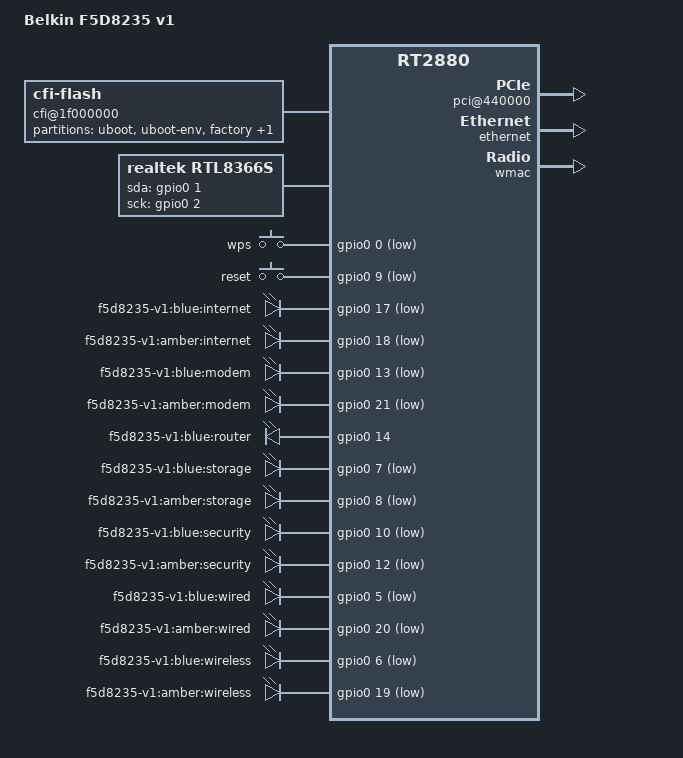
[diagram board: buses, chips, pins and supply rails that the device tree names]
/dts-v1/;

#include "rt2880.dtsi"

#include <dt-bindings/gpio/gpio.h>
#include <dt-bindings/input/input.h>

/ {
	#address-cells = <1>;
	#size-cells = <1>;
	compatible = "belkin,f5d8235-v1", "ralink,rt2880-soc";
	model = "Belkin F5D8235 v1";

	pci@440000 {
		status = "ok";
	};

	cfi@1f000000 {
		compatible = "cfi-flash";
		reg = <0xbc400000 0x800000>;
		bank-width = <2>;
		device-width = <2>;
		#address-cells = <1>;
		#size-cells = <1>;

		partition@0 {
			label = "uboot";
			reg = <0x0 0x30000>;
			read-only;
		};

		partition@30000 {
			label = "uboot-env";
			reg = <0x30000 0x10000>;
			read-only;
		};

		factory: partition@40000 {
			label = "factory";
			reg = <0x40000 0x10000>;
			read-only;
		};

		partition@50000 {
			label = "firmware";
			reg = <0x50000 0x7b0000>;
		};
	};

	rtl8366s {
		compatible = "realtek,rtl8366s";
		gpio-sda = <&gpio0 1 GPIO_ACTIVE_HIGH>;
		gpio-sck = <&gpio0 2 GPIO_ACTIVE_HIGH>;

		realtek,initvals = <
			0x0242 0x02BF
			0x0245 0x02BF
			0x0248 0x02BF
			0x024B 0x02BF
			0x024E 0x02BF
			0x0251 0x02BF
			0x0254 0x0A3F
			0x0256 0x0A3F
			0x0258 0x0A3F
			0x025A 0x0A3F
			0x025C 0x0A3F
			0x025E 0x0A3F
			0x0263 0x007C
			0x0100 0x0004
			0xBE5B 0x3500
			0x800E 0x200F
			0xBE1D 0x0F00
			0x8001 0x5011
			0x800A 0xA2F4
			0x800B 0x17A3
			0xBE4B 0x17A3
			0xBE41 0x5011
			0xBE17 0x2100
			0x8000 0x8304
			0xBE40 0x8304
			0xBE4A 0xA2F4
			0x800C 0xA8D5
			0x8014 0x5500
			0x8015 0x0004
			0xBE4C 0xA8D5
			0xBE59 0x0008
			0xBE09 0x0E00
			0xBE36 0x1036
			0xBE37 0x1036
			0x800D 0x00FF
			0xBE4D 0x00FF
		>;

		realtek,green-ethernet-features;
	};

	gpio-keys-polled {
		compatible = "gpio-keys-polled";
		#address-cells = <1>;
		#size-cells = <0>;
		poll-interval = <100>;

		wps {
			label = "wps";
			gpios = <&gpio0 0 GPIO_ACTIVE_LOW>;
			linux,code = <KEY_WPS_BUTTON>;
		};

		reset {
			label = "reset";
			gpios = <&gpio0 9 GPIO_ACTIVE_LOW>;
			linux,code = <KEY_RESTART>;
		};
	};

	gpio-leds {
		compatible = "gpio-leds";

		internet {
			label = "f5d8235-v1:blue:internet";
			gpios = <&gpio0 17 GPIO_ACTIVE_LOW>;
		};

		internet2 {
			label = "f5d8235-v1:amber:internet";
			gpios = <&gpio0 18 GPIO_ACTIVE_LOW>;
		};

		modem {
			label = "f5d8235-v1:blue:modem";
			gpios = <&gpio0 13 GPIO_ACTIVE_LOW>;
		};

		modem2 {
			label = "f5d8235-v1:amber:modem";
			gpios = <&gpio0 21 GPIO_ACTIVE_LOW>;
		};

		router {
			label = "f5d8235-v1:blue:router";
			gpios = <&gpio0 14 GPIO_ACTIVE_HIGH>;
		};

		storage {
			label = "f5d8235-v1:blue:storage";
			gpios = <&gpio0 7 GPIO_ACTIVE_LOW>;
		};

		storage2 {
			label = "f5d8235-v1:amber:storage";
			gpios = <&gpio0 8 GPIO_ACTIVE_LOW>;
		};

		security {
			label = "f5d8235-v1:blue:security";
			gpios = <&gpio0 10 GPIO_ACTIVE_LOW>;
		};

		security2 {
			label = "f5d8235-v1:amber:security";
			gpios = <&gpio0 12 GPIO_ACTIVE_LOW>;
		};

		wired {
			label = "f5d8235-v1:blue:wired";
			gpios = <&gpio0 5 GPIO_ACTIVE_LOW>;
		};

		wired2 {
			label = "f5d8235-v1:amber:wired";
			gpios = <&gpio0 20 GPIO_ACTIVE_LOW>;
		};

		wireless {
			label = "f5d8235-v1:blue:wireless";
			gpios = <&gpio0 6 GPIO_ACTIVE_LOW>;
		};

		wireless2 {
			label = "f5d8235-v1:amber:wireless";
			gpios = <&gpio0 19 GPIO_ACTIVE_LOW>;
		};
	};
};

&gpio0 {
	status = "okay";
};

&pinctrl {
	state_default: pinctrl0 {
		gpio {
			ralink,group = "spi", "i2c", "jtag", "mdio", "uartlite";
			ralink,function = "gpio";
		};
	};
};

&ethernet {
	status = "okay";
	mtd-mac-address = <&factory 0x4>;

	port@0 {
		mediatek,fixed-link = <1000 1 1 1>;
	};
};

&wmac {
	status = "okay";
	ralink,mtd-eeprom = <&factory 0x0>;
};
